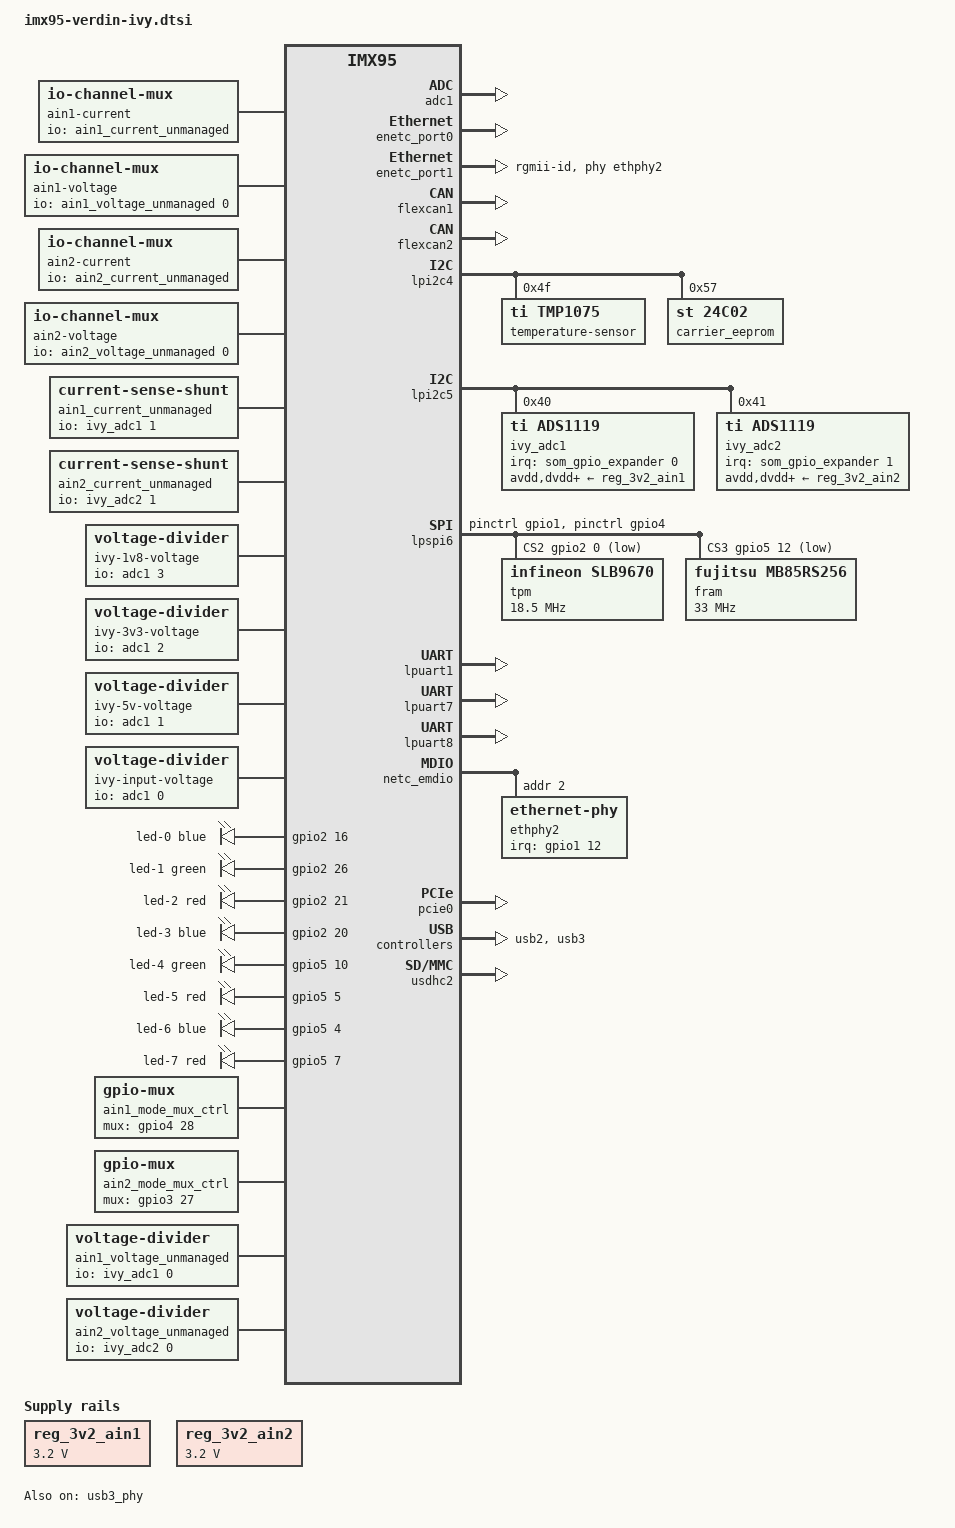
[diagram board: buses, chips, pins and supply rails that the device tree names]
// SPDX-License-Identifier: GPL-2.0-or-later OR MIT
/*
 * Copyright (c) Toradex
 *
 * Common dtsi for Verdin iMX95 SoM on Ivy carrier board
 *
 * https://www.toradex.com/computer-on-modules/verdin-arm-family/nxp-imx95
 * https://www.toradex.com/products/carrier-board/ivy-carrier-board
 */

#include <dt-bindings/mux/mux.h>
#include <dt-bindings/leds/common.h>
#include <dt-bindings/net/ti-dp83867.h>

/ {
	aliases {
		eeprom1 = &carrier_eeprom;
	};

	ain1-current {
		compatible = "io-channel-mux";
		channels = "", "ain1_current";
		io-channels = <&ain1_current_unmanaged>;
		io-channel-names = "parent";
		mux-controls = <&ain1_mode_mux_ctrl>;
		settle-time-us = <1000>;
	};

	ain1-voltage {
		compatible = "io-channel-mux";
		channels = "ain1_voltage", "";
		io-channels = <&ain1_voltage_unmanaged 0>;
		io-channel-names = "parent";
		mux-controls = <&ain1_mode_mux_ctrl>;
		settle-time-us = <1000>;
	};

	ain2-current {
		compatible = "io-channel-mux";
		channels = "", "ain2_current";
		io-channels = <&ain2_current_unmanaged>;
		io-channel-names = "parent";
		mux-controls = <&ain2_mode_mux_ctrl>;
		settle-time-us = <1000>;
	};

	ain2-voltage {
		compatible = "io-channel-mux";
		channels = "ain2_voltage", "";
		io-channels = <&ain2_voltage_unmanaged 0>;
		io-channel-names = "parent";
		mux-controls = <&ain2_mode_mux_ctrl>;
		settle-time-us = <1000>;
	};

	/* AIN1 Current w/o AIN1_MODE gpio control */
	ain1_current_unmanaged: current-sense-shunt-ain1 {
		compatible = "current-sense-shunt";
		#io-channel-cells = <0>;
		io-channels = <&ivy_adc1 1>;
		shunt-resistor-micro-ohms = <100000000>;
	};

	/* AIN2 Current w/o AIN2_MODE gpio control */
	ain2_current_unmanaged: current-sense-shunt-ain2 {
		compatible = "current-sense-shunt";
		#io-channel-cells = <0>;
		io-channels = <&ivy_adc2 1>;
		shunt-resistor-micro-ohms = <100000000>;
	};

	/* Ivy Power Supply Input Voltage */
	ivy-1v8-voltage {
		compatible = "voltage-divider";
		/* Verdin ADC_4 */
		io-channels = <&adc1 3>;
		full-ohms = <39000>; /* 12k + 27k */
		output-ohms = <27000>;
	};

	ivy-3v3-voltage {
		compatible = "voltage-divider";
		/* Verdin ADC_3 */
		io-channels = <&adc1 2>;
		full-ohms = <54000>; /* 27k + 27k */
		output-ohms = <27000>;
	};

	ivy-5v-voltage {
		compatible = "voltage-divider";
		/* Verdin ADC_2 */
		io-channels = <&adc1 1>;
		full-ohms = <39000>; /* 27k + 12k */
		output-ohms = <12000>;
	};

	ivy-input-voltage {
		compatible = "voltage-divider";
		/* Verdin ADC_1 */
		io-channels = <&adc1 0>;
		full-ohms = <204700>; /* 200k + 4.7k */
		output-ohms = <4700>;
	};

	leds {
		compatible = "gpio-leds";
		pinctrl-names = "default";
		pinctrl-0 = <&pinctrl_ivy_leds>;

		/* D7 Blue - SODIMM 30 - LEDs.GPIO1 */
		led-0 {
			color = <LED_COLOR_ID_BLUE>;
			default-state = "off";
			function = LED_FUNCTION_STATUS;
			function-enumerator = <1>;
			gpios = <&gpio2 16 GPIO_ACTIVE_HIGH>;
		};

		/* D7 Green - SODIMM 32 - LEDs.GPIO2 */
		led-1 {
			color = <LED_COLOR_ID_GREEN>;
			default-state = "off";
			function = LED_FUNCTION_STATUS;
			function-enumerator = <1>;
			gpios = <&gpio2 26 GPIO_ACTIVE_HIGH>;
		};

		/* D7 Red - SODIMM 34 - LEDs.GPIO3 */
		led-2 {
			color = <LED_COLOR_ID_RED>;
			default-state = "off";
			function = LED_FUNCTION_STATUS;
			function-enumerator = <1>;
			gpios = <&gpio2 21 GPIO_ACTIVE_HIGH>;
		};

		/* D8 Blue - SODIMM 36 - LEDs.GPIO4 */
		led-3 {
			color = <LED_COLOR_ID_BLUE>;
			default-state = "off";
			function = LED_FUNCTION_STATUS;
			function-enumerator = <2>;
			gpios = <&gpio2 20 GPIO_ACTIVE_HIGH>;
		};

		/* D8 Green - SODIMM 54 - LEDs.GPIO5 */
		led-4 {
			color = <LED_COLOR_ID_GREEN>;
			default-state = "off";
			function = LED_FUNCTION_STATUS;
			function-enumerator = <2>;
			gpios = <&gpio5 10 GPIO_ACTIVE_HIGH>;
		};

		/* D8 Red - SODIMM 44 - LEDs.GPIO6 */
		led-5 {
			color = <LED_COLOR_ID_RED>;
			default-state = "off";
			function = LED_FUNCTION_STATUS;
			function-enumerator = <2>;
			gpios = <&gpio5 5 GPIO_ACTIVE_HIGH>;
		};

		/* D9 Blue - SODIMM 46 - LEDs.GPIO7 */
		led-6 {
			color = <LED_COLOR_ID_BLUE>;
			default-state = "off";
			function = LED_FUNCTION_STATUS;
			function-enumerator = <3>;
			gpios = <&gpio5 4 GPIO_ACTIVE_HIGH>;
		};

		/* D9 Red - SODIMM 48 - LEDs.GPIO8 */
		led-7 {
			color = <LED_COLOR_ID_RED>;
			default-state = "off";
			function = LED_FUNCTION_STATUS;
			function-enumerator = <3>;
			gpios = <&gpio5 7 GPIO_ACTIVE_HIGH>;
		};
	};

	/* AIN1_MODE - SODIMM 216 */
	ain1_mode_mux_ctrl: mux-controller-0 {
		compatible = "gpio-mux";
		pinctrl-names = "default";
		pinctrl-0 = <&pinctrl_gpio5>;
		#mux-control-cells = <0>;
		mux-gpios = <&gpio4 28 GPIO_ACTIVE_HIGH>;
	};

	/* AIN2_MODE - SODIMM 218 */
	ain2_mode_mux_ctrl: mux-controller-1 {
		compatible = "gpio-mux";
		pinctrl-names = "default";
		pinctrl-0 = <&pinctrl_gpio6>;
		#mux-control-cells = <0>;
		mux-gpios = <&gpio3 27 GPIO_ACTIVE_HIGH>;
	};

	reg_3v2_ain1: regulator-3v2-ain1 {
		compatible = "regulator-fixed";
		regulator-max-microvolt = <3200000>;
		regulator-min-microvolt = <3200000>;
		regulator-name = "+3V2_AIN1";
	};

	reg_3v2_ain2: regulator-3v2-ain2 {
		compatible = "regulator-fixed";
		regulator-max-microvolt = <3200000>;
		regulator-min-microvolt = <3200000>;
		regulator-name = "+3V2_AIN2";
	};

	/* AIN1 Voltage w/o AIN1_MODE gpio control */
	ain1_voltage_unmanaged: voltage-divider-ain1 {
		compatible = "voltage-divider";
		#io-channel-cells = <1>;
		io-channels = <&ivy_adc1 0>;
		full-ohms = <19>;
		output-ohms = <1>;
	};

	/* AIN2 Voltage w/o AIN2_MODE gpio control */
	ain2_voltage_unmanaged: voltage-divider-ain2 {
		compatible = "voltage-divider";
		#io-channel-cells = <1>;
		io-channels = <&ivy_adc2 0>;
		full-ohms = <19>;
		output-ohms = <1>;
	};
};

/* Verdin ADC_1, ADC_2, ADC_3 and ADC_4 */
&adc1 {
	status = "okay";
};

/* Verdin ETH_1 (On-module PHY) */
&enetc_port0 {
	status = "okay";
};

/* Verdin ETH_2_RGMII */
&enetc_port1 {
	phy-handle = <&ethphy2>;
	phy-mode = "rgmii-id";

	status = "okay";
};

/* Verdin CAN_1 */
&flexcan1 {
	status = "okay";
};

/* Verdin CAN_2 */
&flexcan2 {
	status = "okay";
};

&gpio1 {
	pinctrl-names = "default";
	pinctrl-0 = <&pinctrl_ctrl_sleep_moci>;
	gpio-line-names = "";
};

&gpio2 {
	pinctrl-names = "default";
	pinctrl-0 = <&pinctrl_gpio2>,
		    <&pinctrl_gpio3>;
	gpio-line-names =
		"", /* 0 */
		"",
		"",
		"",
		"",
		"",
		"",
		"",
		"",
		"",
		"", /* 10 */
		"",
		"",
		"",
		"",
		"",
		"",
		"",
		"GPIO2", /* Verdin GPIO_2 - SODIMM 208 */
		"",
		"", /* 20 */
		"",
		"",
		"",
		"GPIO3", /* Verdin GPIO_3 - SODIMM 210 */
		"",
		"",
		"",
		"",
		"",
		"", /* 30 */
		"";
};

&gpio3 {
	gpio-line-names = "";
};

&gpio4 {
	gpio-line-names = "";
};

&gpio5 {
	pinctrl-names = "default";
	pinctrl-0 = <&pinctrl_qspi1_cs2_gpio>,
		    <&pinctrl_qspi1_dqs_gpio>,
		    <&pinctrl_qspi1_io0_gpio>,
		    <&pinctrl_qspi1_io1_gpio>,
		    <&pinctrl_qspi1_io2_gpio>,
		    <&pinctrl_qspi1_io3_gpio>;
	gpio-line-names =
		"DIGI_1", /* SODIMM 56 */
		"DIGI_2", /* SODIMM 58 */
		"REL1",   /* SODIMM 60 */
		"REL2",   /* SODIMM 62 */
		"",
		"",
		"",
		"",
		"REL4", /* SODIMM 66 */
		"",
		"", /* 10 */
		"REL3", /* SODIMM 64 */
		"",
		"",
		"",
		"",
		"",
		"";
};

/* Verdin I2C_1 */
&lpi2c4 {
	status = "okay";

	temperature-sensor@4f {
		compatible = "ti,tmp1075";
		reg = <0x4f>;
	};

	carrier_eeprom: eeprom@57 {
		compatible = "st,24c02", "atmel,24c02";
		reg = <0x57>;
		pagesize = <16>;
	};
};

/* Verdin I2C_4_CSI */
&lpi2c5 {
	status = "okay";

	ivy_adc1: adc@40 {
		compatible = "ti,ads1119";
		reg = <0x40>;
		interrupt-parent = <&som_gpio_expander>;
		interrupts = <0 IRQ_TYPE_EDGE_FALLING>;
		avdd-supply = <&reg_3v2_ain1>;
		dvdd-supply = <&reg_3v2_ain1>;
		vref-supply = <&reg_3v2_ain1>;
		#address-cells = <1>;
		#io-channel-cells = <1>;
		#size-cells = <0>;

		/* AIN1 0-33V Voltage Input */
		channel@0 {
			reg = <0>;
			diff-channels = <0 1>;
		};

		/* AIN1 0-20mA Current Input */
		channel@1 {
			reg = <1>;
			diff-channels = <2 3>;
		};
	};

	ivy_adc2: adc@41 {
		compatible = "ti,ads1119";
		reg = <0x41>;
		interrupt-parent = <&som_gpio_expander>;
		interrupts = <1 IRQ_TYPE_EDGE_FALLING>;
		avdd-supply = <&reg_3v2_ain2>;
		dvdd-supply = <&reg_3v2_ain2>;
		vref-supply = <&reg_3v2_ain2>;
		#address-cells = <1>;
		#io-channel-cells = <1>;
		#size-cells = <0>;

		/* AIN2 0-33V Voltage Input */
		channel@0 {
			reg = <0>;
			diff-channels = <0 1>;
		};

		/* AIN2 0-20mA Current Input */
		channel@1 {
			reg = <1>;
			diff-channels = <2 3>;
		};
	};
};

/* Verdin SPI_1 */
&lpspi6 {
	pinctrl-names = "default";
	pinctrl-0 = <&pinctrl_lpspi6>,
		    <&pinctrl_spi1_cs>,
		    <&pinctrl_gpio1>,
		    <&pinctrl_gpio4>;
	cs-gpios = <&gpio4 29 GPIO_ACTIVE_LOW>,
		   <&som_gpio_expander 13 GPIO_ACTIVE_LOW>,
		   <&gpio2 0 GPIO_ACTIVE_LOW>,
		   <&gpio5 12 GPIO_ACTIVE_LOW>;

	tpm@2 {
		compatible = "infineon,slb9670", "tcg,tpm_tis-spi";
		reg = <2>;
		spi-max-frequency = <18500000>;
	};

	fram@3 {
		compatible = "fujitsu,mb85rs256", "atmel,at25";
		reg = <3>;
		address-width = <16>;
		size = <32768>;
		spi-max-frequency = <33000000>;
		pagesize = <1>;
	};
};

/* Verdin UART_3, used as the Linux console */
&lpuart1 {
	status = "okay";
};

/* Verdin UART_1 */
&lpuart7 {
	status = "okay";
};

/* Verdin UART_2, through RS485 transceiver */
&lpuart8 {
	rs485-rts-active-low;
	rs485-rx-during-tx;
	linux,rs485-enabled-at-boot-time;

	status = "okay";
};

&netc_emdio {
	ethphy2: ethernet-phy@2 {
		reg = <2>;
		pinctrl-names = "default";
		pinctrl-0 = <&pinctrl_eth2_rgmii_int>;
		interrupt-parent = <&gpio1>;
		interrupts = <12 IRQ_TYPE_LEVEL_LOW>;
		ti,rx-internal-delay = <DP83867_RGMIIDCTL_2_00_NS>;
		ti,tx-internal-delay = <DP83867_RGMIIDCTL_2_00_NS>;
	};
};

/* Verdin PCIE_1 */
&pcie0 {
	status = "okay";
};

&som_gpio_expander {
	gpio-line-names = "";
};

/* Verdin USB_1 */
&usb2 {
	status = "okay";
};

/* Verdin USB_2 */
&usb3 {
	fsl,permanently-attached;

	status = "okay";
};

&usb3_phy {
	status = "okay";
};

/* Verdin SD_1 */
&usdhc2 {
	status = "okay";
};

&scmi_iomuxc {
	pinctrl_ivy_leds: ivyledsgrp {
		fsl,pins = <IMX95_PAD_GPIO_IO16__GPIO2_IO_BIT16		0x11e>, /* SODIMM 30 */
			   <IMX95_PAD_GPIO_IO26__GPIO2_IO_BIT26		0x11e>, /* SODIMM 32 */
			   <IMX95_PAD_GPIO_IO21__GPIO2_IO_BIT21		0x11e>, /* SODIMM 34 */
			   <IMX95_PAD_GPIO_IO20__GPIO2_IO_BIT20		0x11e>, /* SODIMM 36 */
			   <IMX95_PAD_XSPI1_DATA5__GPIO5_IO_BIT5	0x11e>, /* SODIMM 44 */
			   <IMX95_PAD_XSPI1_DATA4__GPIO5_IO_BIT4	0x11e>, /* SODIMM 46 */
			   <IMX95_PAD_XSPI1_DATA7__GPIO5_IO_BIT7	0x11e>, /* SODIMM 48 */
			   <IMX95_PAD_XSPI1_SS0_B__GPIO5_IO_BIT10	0x11e>; /* SODIMM 54 */
	};
};
